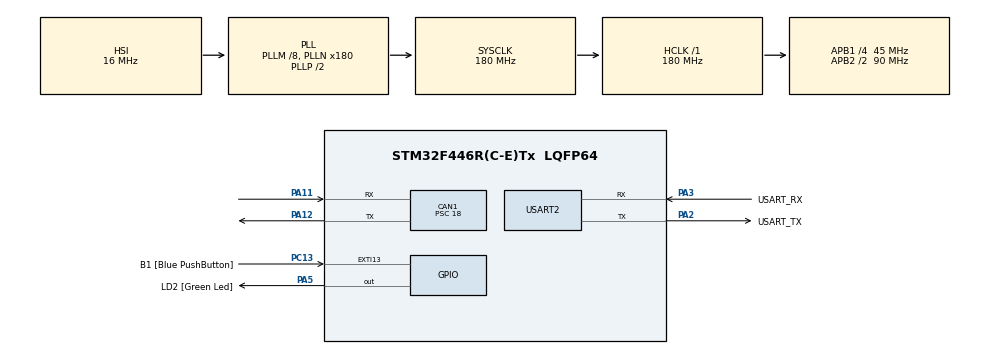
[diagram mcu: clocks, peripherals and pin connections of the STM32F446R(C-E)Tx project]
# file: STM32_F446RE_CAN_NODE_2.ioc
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CAN1.BS1=CAN_BS1_2TQ
CAN1.BS2=CAN_BS2_2TQ
CAN1.CalculateBaudRate=500000
CAN1.CalculateTimeBit=2000
CAN1.CalculateTimeQuantum=400.0
CAN1.Prescaler=18
CAN1.RFLM=DISABLE
Mcu.Family=STM32F4
Mcu.Name=STM32F446R(C-E)Tx
Mcu.Package=LQFP64
NVIC.PriorityGroup=NVIC_PRIORITYGROUP_0
PA11.Mode=CAN_Activate
PA11.Signal=CAN1_RX
PA12.Mode=CAN_Activate
PA12.Signal=CAN1_TX
PA13.GPIO_Label=TMS
PA13.Mode=Serial_Wire
PA13.Signal=SYS_JTMS-SWDIO
PA14.GPIO_Label=TCK
PA14.Mode=Serial_Wire
PA14.Signal=SYS_JTCK-SWCLK
PA2.GPIO_Label=USART_TX
PA2.Mode=Asynchronous
PA2.Signal=USART2_TX
PA3.GPIO_Label=USART_RX
PA3.Mode=Asynchronous
PA3.Signal=USART2_RX
PA5.GPIO_Label=LD2 [Green Led]
PA5.Signal=GPIO_Output
PB3.GPIO_Label=SWO
PB3.Signal=SYS_JTDO-SWO
PC13.GPIO_Label=B1 [Blue PushButton]
PC13.GPIO_ModeDefaultEXTI=GPIO_MODE_IT_FALLING
PC13.Signal=GPXTI13
PC14-OSC32_IN.Mode=LSE-External-Oscillator
PC14-OSC32_IN.Signal=RCC_OSC32_IN
PC15-OSC32_OUT.Mode=LSE-External-Oscillator
PC15-OSC32_OUT.Signal=RCC_OSC32_OUT
PH0-OSC_IN.Mode=HSE-External-Oscillator
PH0-OSC_IN.Signal=RCC_OSC_IN
PH1-OSC_OUT.Mode=HSE-External-Oscillator
PH1-OSC_OUT.Signal=RCC_OSC_OUT
ProjectManager.HeapSize=0x200
ProjectManager.StackSize=0x400
ProjectManager.TargetToolchain=STM32CubeIDE
RCC.48MHZClocksFreq_Value=84000000
RCC.AHBFreq_Value=180000000
RCC.APB1CLKDivider=RCC_HCLK_DIV4
RCC.APB1Freq_Value=45000000
RCC.APB1TimFreq_Value=90000000
RCC.APB2CLKDivider=RCC_HCLK_DIV2
RCC.APB2Freq_Value=90000000
RCC.APB2TimFreq_Value=180000000
RCC.CortexFreq_Value=180000000
RCC.FLatency-AdvancedSettings=FLASH_LATENCY_5
RCC.HCLKFreq_Value=180000000
RCC.HSE_VALUE=8000000
RCC.HSI_VALUE=16000000
RCC.PLLM=8
RCC.PLLN=180
RCC.SYSCLKFreq_VALUE=180000000
RCC.SYSCLKSource=RCC_SYSCLKSOURCE_PLLCLK
RCC.USBFreq_Value=180000000
RCC.VCOOutputFreq_Value=360000000
USART2.VirtualMode=VM_ASYNC
board=NUCLEO-F446RE

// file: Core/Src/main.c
/* USER CODE BEGIN Header */
/**
  ******************************************************************************
  * @file           : main.c
  * @brief          : Main program body
  ******************************************************************************
  * @attention
  *
  * Copyright (c) 2024 STMicroelectronics.
  * All rights reserved.
  *
  * This software is licensed under terms that can be found in the LICENSE file
  * in the root directory of this software component.
  * If no LICENSE file comes with this software, it is provided AS-IS.
  *
  ******************************************************************************
  */
/* USER CODE END Header */
#include "main.h"

CAN_HandleTypeDef hcan1;

UART_HandleTypeDef huart2;

/* USER CODE BEGIN PV */
CAN_TxHeaderTypeDef TxHeader;
CAN_RxHeaderTypeDef RxHeader;

uint8_t TxData[8];
uint8_t RxData[8];

uint32_t TxMailbox;
/* USER CODE END PV */

void SystemClock_Config(void);
static void MX_GPIO_Init(void);
static void MX_USART2_UART_Init(void);
static void MX_CAN1_Init(void);

int main(void)
{

  /* MCU Configuration--------------------------------------------------------*/

  /* Reset of all peripherals, Initializes the Flash interface and the Systick. */
  HAL_Init();

  /* Configure the system clock */
  SystemClock_Config();

  /* Initialize all configured peripherals */
  MX_GPIO_Init();
  MX_USART2_UART_Init();
  MX_CAN1_Init();

  /* Infinite loop */
  /* USER CODE BEGIN WHILE */
  while (1)
  {

	  if( HAL_CAN_Start(&hcan1) != HAL_OK)
	  {
		  Error_Handler();
	  }

	  TxHeader.StdId = 0x123;
	  TxHeader.RTR = CAN_RTR_DATA;
	  TxHeader.IDE = CAN_ID_STD;
	  TxHeader.DLC = 8;
	  TxHeader.TransmitGlobalTime = DISABLE;
	  TxData[0] = 1;
	  TxData[1] = 2;
	  TxData[2] = 3;
	  TxData[3] = 4;
	  TxData[4] = 5;
	  TxData[5] = 6;
	  TxData[6] = 7;
	  TxData[7] = 8;

	  if(HAL_CAN_AddTxMessage(&hcan1, &TxHeader, TxData, &TxMailbox) != HAL_OK)
	  {
		  Error_Handler();
	  }

	  while(HAL_CAN_GetTxMailboxesFreeLevel(&hcan1) != 3) {}

	  if(HAL_CAN_GetRxFifoFillLevel(&hcan1, CAN_RX_FIFO0) != 1)
	  {
	    Error_Handler();
	  }

	  if(HAL_CAN_GetRxMessage(&hcan1, CAN_RX_FIFO0, &RxHeader, RxData) != HAL_OK)
	  {
	    Error_Handler();
	  }
    /* USER CODE END WHILE */

  }
}

void SystemClock_Config(void)
{
  RCC_OscInitTypeDef RCC_OscInitStruct = {0};
  RCC_ClkInitTypeDef RCC_ClkInitStruct = {0};

  /** Configure the main internal regulator output voltage
  */
  __HAL_RCC_PWR_CLK_ENABLE();
  __HAL_PWR_VOLTAGESCALING_CONFIG(PWR_REGULATOR_VOLTAGE_SCALE1);

  /** Initializes the RCC Oscillators according to the specified parameters
  * in the RCC_OscInitTypeDef structure.
  */
  RCC_OscInitStruct.OscillatorType = RCC_OSCILLATORTYPE_HSI;
  RCC_OscInitStruct.HSIState = RCC_HSI_ON;
  RCC_OscInitStruct.HSICalibrationValue = RCC_HSICALIBRATION_DEFAULT;
  RCC_OscInitStruct.PLL.PLLState = RCC_PLL_ON;
  RCC_OscInitStruct.PLL.PLLSource = RCC_PLLSOURCE_HSI;
  RCC_OscInitStruct.PLL.PLLM = 8;
  RCC_OscInitStruct.PLL.PLLN = 180;
  RCC_OscInitStruct.PLL.PLLP = RCC_PLLP_DIV2;
  RCC_OscInitStruct.PLL.PLLQ = 2;
  RCC_OscInitStruct.PLL.PLLR = 2;
  if (HAL_RCC_OscConfig(&RCC_OscInitStruct) != HAL_OK)
  {
    Error_Handler();
  }

  /** Activate the Over-Drive mode
  */
  if (HAL_PWREx_EnableOverDrive() != HAL_OK)
  {
    Error_Handler();
  }

  /** Initializes the CPU, AHB and APB buses clocks
  */
  RCC_ClkInitStruct.ClockType = RCC_CLOCKTYPE_HCLK|RCC_CLOCKTYPE_SYSCLK
                              |RCC_CLOCKTYPE_PCLK1|RCC_CLOCKTYPE_PCLK2;
  RCC_ClkInitStruct.SYSCLKSource = RCC_SYSCLKSOURCE_PLLCLK;
  RCC_ClkInitStruct.AHBCLKDivider = RCC_SYSCLK_DIV1;
  RCC_ClkInitStruct.APB1CLKDivider = RCC_HCLK_DIV4;
  RCC_ClkInitStruct.APB2CLKDivider = RCC_HCLK_DIV2;

  if (HAL_RCC_ClockConfig(&RCC_ClkInitStruct, FLASH_LATENCY_5) != HAL_OK)
  {
    Error_Handler();
  }
}

static void MX_CAN1_Init(void)
{

  /* USER CODE BEGIN CAN1_Init 0 */
	CAN_FilterTypeDef  sFilterConfig;
  /* USER CODE END CAN1_Init 0 */

  hcan1.Instance = CAN1;
  hcan1.Init.Prescaler = 18;
  hcan1.Init.Mode = CAN_MODE_NORMAL;
  hcan1.Init.SyncJumpWidth = CAN_SJW_1TQ;
  hcan1.Init.TimeSeg1 = CAN_BS1_2TQ;
  hcan1.Init.TimeSeg2 = CAN_BS2_2TQ;
  hcan1.Init.TimeTriggeredMode = DISABLE;
  hcan1.Init.AutoBusOff = DISABLE;
  hcan1.Init.AutoWakeUp = DISABLE;
  hcan1.Init.AutoRetransmission = DISABLE;
  hcan1.Init.ReceiveFifoLocked = DISABLE;
  hcan1.Init.TransmitFifoPriority = DISABLE;
  if (HAL_CAN_Init(&hcan1) != HAL_OK)
  {
    Error_Handler();
  }
  /* USER CODE BEGIN CAN1_Init 2 */
  sFilterConfig.FilterBank = 0;
  sFilterConfig.FilterMode = CAN_FILTERMODE_IDMASK;
  sFilterConfig.FilterScale = CAN_FILTERSCALE_32BIT;
  sFilterConfig.FilterIdHigh = 0x321;
  sFilterConfig.FilterIdLow = 0x0000;
  sFilterConfig.FilterMaskIdHigh = 0x321;
  sFilterConfig.FilterMaskIdLow = 0x0000;
  sFilterConfig.FilterFIFOAssignment = CAN_RX_FIFO0;
  sFilterConfig.FilterActivation = ENABLE;
  sFilterConfig.SlaveStartFilterBank = 14;

  if(HAL_CAN_ConfigFilter(&hcan1, &sFilterConfig) != HAL_OK)
  {
    /* Filter configuration Error */
    Error_Handler();
  }
  /* USER CODE END CAN1_Init 2 */

}

static void MX_USART2_UART_Init(void)
{

  huart2.Instance = USART2;
  huart2.Init.BaudRate = 115200;
  huart2.Init.WordLength = UART_WORDLENGTH_8B;
  huart2.Init.StopBits = UART_STOPBITS_1;
  huart2.Init.Parity = UART_PARITY_NONE;
  huart2.Init.Mode = UART_MODE_TX_RX;
  huart2.Init.HwFlowCtl = UART_HWCONTROL_NONE;
  huart2.Init.OverSampling = UART_OVERSAMPLING_16;
  if (HAL_UART_Init(&huart2) != HAL_OK)
  {
    Error_Handler();
  }

}

static void MX_GPIO_Init(void)
{
  GPIO_InitTypeDef GPIO_InitStruct = {0};

  /* GPIO Ports Clock Enable */
  __HAL_RCC_GPIOC_CLK_ENABLE();
  __HAL_RCC_GPIOH_CLK_ENABLE();
  __HAL_RCC_GPIOA_CLK_ENABLE();
  __HAL_RCC_GPIOB_CLK_ENABLE();

  /*Configure GPIO pin Output Level */
  HAL_GPIO_WritePin(LD2_GPIO_Port, LD2_Pin, GPIO_PIN_RESET);

  /*Configure GPIO pin : B1_Pin */
  GPIO_InitStruct.Pin = B1_Pin;
  GPIO_InitStruct.Mode = GPIO_MODE_IT_FALLING;
  GPIO_InitStruct.Pull = GPIO_NOPULL;
  HAL_GPIO_Init(B1_GPIO_Port, &GPIO_InitStruct);

  /*Configure GPIO pin : LD2_Pin */
  GPIO_InitStruct.Pin = LD2_Pin;
  GPIO_InitStruct.Mode = GPIO_MODE_OUTPUT_PP;
  GPIO_InitStruct.Pull = GPIO_NOPULL;
  GPIO_InitStruct.Speed = GPIO_SPEED_FREQ_LOW;
  HAL_GPIO_Init(LD2_GPIO_Port, &GPIO_InitStruct);

}

void Error_Handler(void)
{
  __disable_irq();
  while (1)
  {
  }
}
